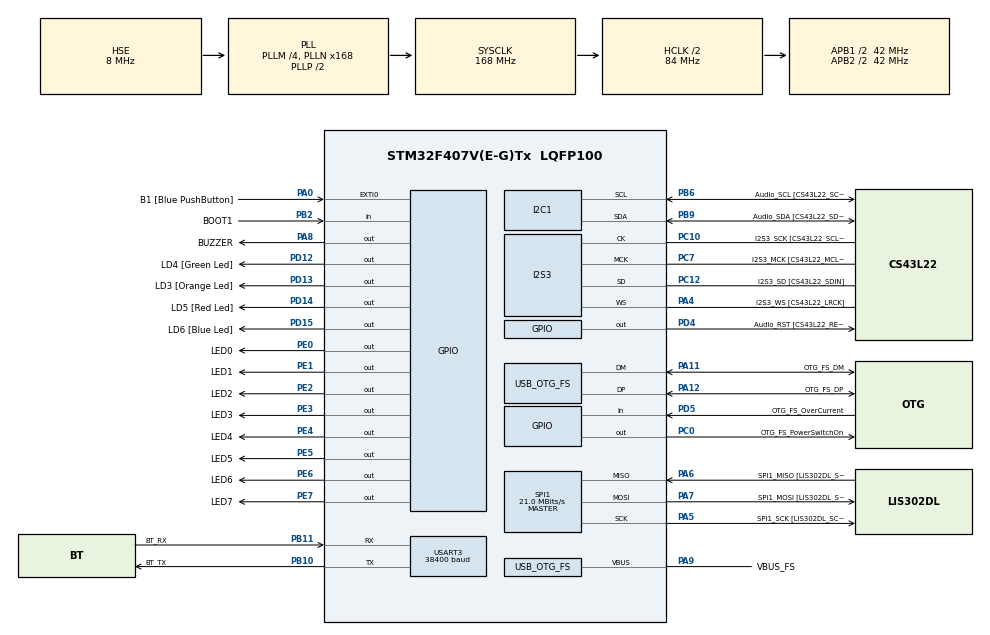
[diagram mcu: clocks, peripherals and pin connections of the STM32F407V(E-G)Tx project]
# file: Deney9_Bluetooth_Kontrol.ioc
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I2S3.AudioFreq=I2S_AUDIOFREQ_96K
I2S3.AudioFreq-Half_Duplex_Master=I2S_AUDIOFREQ_96K
I2S3.ErrorAudioFreq=- %
I2S3.ErrorAudioFreq-Half_Duplex_Master=0.8 %
I2S3.FullDuplexMode=I2S_FULLDUPLEXMODE_DISABLE
I2S3.Instance=SPI$Index
I2S3.RealAudioFreq=- Hz
I2S3.RealAudioFreq-Half_Duplex_Master=96.774 KHz
I2S3.VirtualMode=I2S_MODE_MASTER
Mcu.Family=STM32F4
Mcu.Name=STM32F407V(E-G)Tx
Mcu.Package=LQFP100
NVIC.OTG_FS_IRQn=true\:0\:0\:false\:false\:true\:true\:true\:true
NVIC.PriorityGroup=NVIC_PRIORITYGROUP_0
NVIC.USART3_IRQn=true\:0\:0\:false\:false\:true\:true\:true\:true
PA0-WKUP.GPIO_Label=B1 [Blue PushButton]
PA0-WKUP.GPIO_ModeDefaultEXTI=GPIO_MODE_EVT_RISING
PA0-WKUP.GPIO_PuPd=GPIO_NOPULL
PA0-WKUP.Signal=GPXTI0
PA10.GPIO_Label=OTG_FS_ID
PA10.GPIO_Mode=GPIO_MODE_AF_PP
PA10.GPIO_PuPd=GPIO_NOPULL
PA10.GPIO_Speed=GPIO_SPEED_FREQ_LOW
PA10.Signal=USB_OTG_FS_ID
PA11.GPIO_Label=OTG_FS_DM
PA11.GPIO_Mode=GPIO_MODE_AF_PP
PA11.GPIO_PuPd=GPIO_NOPULL
PA11.GPIO_Speed=GPIO_SPEED_FREQ_LOW
PA11.Mode=Host_Only
PA11.Signal=USB_OTG_FS_DM
PA12.GPIO_Label=OTG_FS_DP
PA12.GPIO_Mode=GPIO_MODE_AF_PP
PA12.GPIO_PuPd=GPIO_NOPULL
PA12.GPIO_Speed=GPIO_SPEED_FREQ_LOW
PA12.Mode=Host_Only
PA12.Signal=USB_OTG_FS_DP
PA13.GPIO_Label=SWDIO
PA13.Mode=Serial_Wire
PA13.Signal=SYS_JTMS-SWDIO
PA14.GPIO_Label=SWCLK
PA14.Mode=Serial_Wire
PA14.Signal=SYS_JTCK-SWCLK
PA4.GPIO_Label=I2S3_WS [CS43L22_LRCK]
PA4.GPIO_Mode=GPIO_MODE_AF_PP
PA4.GPIO_PuPd=GPIO_NOPULL
PA4.GPIO_Speed=GPIO_SPEED_FREQ_LOW
PA4.Mode=Half_Duplex_Master
PA4.Signal=I2S3_WS
PA5.GPIO_Label=SPI1_SCK [LIS302DL_SCL/SPC]
PA5.GPIO_Mode=GPIO_MODE_AF_PP
PA5.GPIO_PuPd=GPIO_NOPULL
PA5.GPIO_Speed=GPIO_SPEED_FREQ_LOW
PA5.Mode=Full_Duplex_Master
PA5.Signal=SPI1_SCK
PA6.GPIO_Label=SPI1_MISO [LIS302DL_SDO]
PA6.GPIO_Mode=GPIO_MODE_AF_PP
PA6.GPIO_PuPd=GPIO_NOPULL
PA6.GPIO_Speed=GPIO_SPEED_FREQ_LOW
PA6.Mode=Full_Duplex_Master
PA6.Signal=SPI1_MISO
PA7.GPIO_Label=SPI1_MOSI [LIS302DL_SDA/SDI/SDO]
PA7.GPIO_Mode=GPIO_MODE_AF_PP
PA7.GPIO_PuPd=GPIO_NOPULL
PA7.GPIO_Speed=GPIO_SPEED_FREQ_LOW
PA7.Mode=Full_Duplex_Master
PA7.Signal=SPI1_MOSI
PA8.GPIO_Label=BUZZER
PA8.Signal=GPIO_Output
PA9.GPIO_Label=VBUS_FS
PA9.GPIO_Mode=GPIO_MODE_INPUT
PA9.GPIO_PuPd=GPIO_NOPULL
PA9.Mode=Activate_VBUS
PA9.Signal=USB_OTG_FS_VBUS
PB10.GPIO_Label=BT_TX
PB10.Mode=Asynchronous
PB10.Signal=USART3_TX
PB11.GPIO_Label=BT_RX
PB11.Mode=Asynchronous
PB11.Signal=USART3_RX
PB2.GPIO_Label=BOOT1
PB2.GPIO_Mode=GPIO_MODE_INPUT
PB2.GPIO_PuPd=GPIO_NOPULL
PB2.Signal=GPIO_Input
PB3.GPIO_Label=SWO
PB3.Signal=SYS_JTDO-SWO
PB6.GPIO_Label=Audio_SCL [CS43L22_SCL]
PB6.GPIO_Mode=GPIO_MODE_AF_OD
PB6.GPIO_Pu=GPIO_PULLUP
PB6.GPIO_PuPd=GPIO_NOPULL
PB6.GPIO_Speed=GPIO_SPEED_FREQ_LOW
PB6.Mode=I2C
PB6.Signal=I2C1_SCL
PB9.GPIO_Label=Audio_SDA [CS43L22_SDA]
PB9.GPIO_Mode=GPIO_MODE_AF_OD
PB9.GPIO_Pu=GPIO_PULLUP
PB9.GPIO_PuPd=GPIO_NOPULL
PB9.GPIO_Speed=GPIO_SPEED_FREQ_LOW
PB9.Mode=I2C
PB9.Signal=I2C1_SDA
PC0.GPIO_Label=OTG_FS_PowerSwitchOn
PC0.GPIO_PuPd=GPIO_NOPULL
PC0.GPIO_Speed=GPIO_SPEED_FREQ_LOW
PC0.PinState=GPIO_PIN_SET
PC0.Signal=GPIO_Output
PC10.GPIO_Label=I2S3_SCK [CS43L22_SCLK]
PC10.GPIO_Mode=GPIO_MODE_AF_PP
PC10.GPIO_PuPd=GPIO_NOPULL
PC10.GPIO_Speed=GPIO_SPEED_FREQ_LOW
PC10.Mode=Half_Duplex_Master
PC10.Signal=I2S3_CK
PC12.GPIO_Label=I2S3_SD [CS43L22_SDIN]
PC12.GPIO_Mode=GPIO_MODE_AF_PP
PC12.GPIO_PuPd=GPIO_NOPULL
PC12.GPIO_Speed=GPIO_SPEED_FREQ_LOW
PC12.Mode=Half_Duplex_Master
PC12.Signal=I2S3_SD
PC14-OSC32_IN.GPIO_Label=PC14-OSC32_IN
PC14-OSC32_IN.Mode=LSE-External-Oscillator
PC14-OSC32_IN.Signal=RCC_OSC32_IN
PC15-OSC32_OUT.GPIO_Label=PC15-OSC32_OUT
PC15-OSC32_OUT.Mode=LSE-External-Oscillator
PC15-OSC32_OUT.Signal=RCC_OSC32_OUT
PC3.GPIO_Label=PDM_OUT [MP45DT02_DOUT]
PC3.GPIO_Mode=GPIO_MODE_AF_PP
PC3.GPIO_PuPd=GPIO_NOPULL
PC3.GPIO_Speed=GPIO_SPEED_FREQ_LOW
PC3.Signal=I2S2_SD
PC7.GPIO_Label=I2S3_MCK [CS43L22_MCLK]
PC7.GPIO_Mode=GPIO_MODE_AF_PP
PC7.GPIO_PuPd=GPIO_NOPULL
PC7.GPIO_Speed=GPIO_SPEED_FREQ_LOW
PC7.Mode=Master_Clock_Activated
PC7.Signal=I2S3_MCK
PD12.GPIO_Label=LD4 [Green Led]
PD12.GPIO_PuPd=GPIO_NOPULL
PD12.GPIO_Speed=GPIO_SPEED_FREQ_LOW
PD12.Signal=GPIO_Output
PD13.GPIO_Label=LD3 [Orange Led]
PD13.GPIO_PuPd=GPIO_NOPULL
PD13.GPIO_Speed=GPIO_SPEED_FREQ_LOW
PD13.Signal=GPIO_Output
PD14.GPIO_Label=LD5 [Red Led]
PD14.GPIO_PuPd=GPIO_NOPULL
PD14.GPIO_Speed=GPIO_SPEED_FREQ_LOW
PD14.Signal=GPIO_Output
PD15.GPIO_Label=LD6 [Blue Led]
PD15.GPIO_PuPd=GPIO_NOPULL
PD15.GPIO_Speed=GPIO_SPEED_FREQ_LOW
PD15.Signal=GPIO_Output
PD4.GPIO_Label=Audio_RST [CS43L22_RESET]
PD4.GPIO_PuPd=GPIO_NOPULL
PD4.GPIO_Speed=GPIO_SPEED_FREQ_LOW
PD4.Signal=GPIO_Output
PD5.GPIO_Label=OTG_FS_OverCurrent
PD5.GPIO_Mode=GPIO_MODE_INPUT
PD5.GPIO_PuPd=GPIO_NOPULL
PD5.Signal=GPIO_Input
PE0.GPIO_Label=LED0
PE0.Signal=GPIO_Output
PE1.GPIO_Label=LED1
PE1.Signal=GPIO_Output
PE2.GPIO_Label=LED2
PE2.Signal=GPIO_Output
PE3.GPIO_Label=LED3
PE3.Signal=GPIO_Output
PE4.GPIO_Label=LED4
PE4.Signal=GPIO_Output
PE5.GPIO_Label=LED5
PE5.Signal=GPIO_Output
PE6.GPIO_Label=LED6
PE6.Signal=GPIO_Output
PE7.GPIO_Label=LED7
PE7.Signal=GPIO_Output
PH0-OSC_IN.GPIO_Label=PH0-OSC_IN
PH0-OSC_IN.Mode=HSE-External-Oscillator
PH0-OSC_IN.Signal=RCC_OSC_IN
PH1-OSC_OUT.GPIO_Label=PH1-OSC_OUT
PH1-OSC_OUT.Mode=HSE-External-Oscillator
PH1-OSC_OUT.Signal=RCC_OSC_OUT
ProjectManager.HeapSize=0x200
ProjectManager.StackSize=0x400
ProjectManager.TargetToolchain=STM32CubeIDE
RCC.48MHZClocksFreq_Value=48000000
RCC.AHBCLKDivider=RCC_SYSCLK_DIV2
RCC.AHBFreq_Value=84000000
RCC.APB1CLKDivider=RCC_HCLK_DIV2
RCC.APB1Freq_Value=42000000
RCC.APB1TimFreq_Value=84000000
RCC.APB2CLKDivider=RCC_HCLK_DIV2
RCC.APB2Freq_Value=42000000
RCC.APB2TimFreq_Value=84000000
RCC.CortexFreq_Value=84000000
RCC.HCLKFreq_Value=84000000
RCC.HSE_VALUE=8000000
RCC.HSI_VALUE=16000000
RCC.PLLI2SN=50
RCC.PLLM=4
RCC.PLLN=168
RCC.PLLQ=7
RCC.SYSCLKFreq_VALUE=168000000
RCC.SYSCLKSource=RCC_SYSCLKSOURCE_PLLCLK
RCC.VCOOutputFreq_Value=336000000
SPI1.BaudRatePrescaler-Full_Duplex_Master=SPI_BAUDRATEPRESCALER_2
SPI1.CalculateBaudRate=21.0 MBits/s
SPI1.CalculateBaudRate-Full_Duplex_Master=42.0 MBits/s
SPI1.Direction=SPI_DIRECTION_2LINES
SPI1.Mode=SPI_MODE_MASTER
SPI1.Mode-Full_Duplex_Master=SPI_MODE_MASTER
SPI1.VirtualType=VM_MASTER
USART3.BaudRate=38400
USART3.VirtualMode=VM_ASYNC
USB_HOST.BSP.number=1
USB_HOST.USBH_HandleTypeDef-CDC_FS=hUsbHostFS
USB_HOST.VirtualModeFS=Cdc
USB_HOST0.BSP.STBoard=false
USB_HOST0.BSP.api=Unknown
USB_HOST0.BSP.instance=PC0
USB_HOST0.BSP.ip=GPIO
USB_HOST0.BSP.mode=Output
USB_HOST0.BSP.name=Drive_VBUS_FS
USB_HOST0.BSP.solution=PC0
USB_OTG_FS.VirtualMode=Host_Only
USB_OTG_FS.phy_itface=HCD_PHY_EMBEDDED
VP_USB_HOST_VS_USB_HOST_CDC_FS.Mode=CDC_FS
board=STM32F407G-DISC1

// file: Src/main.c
/* USER CODE BEGIN Header */
/**
  ******************************************************************************
  * @file           : main.c
  * @brief          : Main program body
  ******************************************************************************
  * @attention
  *
  * Copyright (c) 2026 STMicroelectronics.
  * All rights reserved.
  *
  * This software is licensed under terms that can be found in the LICENSE file
  * in the root directory of this software component.
  * If no LICENSE file comes with this software, it is provided AS-IS.
  *
  ******************************************************************************
  */
/* USER CODE END Header */
#include "main.h"
#include "usb_host.h"

/* USER CODE BEGIN Includes */
#include <string.h>
#include <stdio.h>
/* USER CODE END Includes */

I2C_HandleTypeDef hi2c1;

I2S_HandleTypeDef hi2s3;

SPI_HandleTypeDef hspi1;

UART_HandleTypeDef huart3;

/* USER CODE BEGIN PV */
uint8_t rx_buffer[20];      // Gelen komut karakterlerini tutar
uint8_t rx_index = 0;       // Dizinin son indeksini tutar
char rx_complete = 0;       // Komutun tamamlandığını belirten flag
/* USER CODE END PV */

void SystemClock_Config(void);
static void MX_GPIO_Init(void);
static void MX_I2C1_Init(void);
static void MX_I2S3_Init(void);
static void MX_SPI1_Init(void);
static void MX_USART3_UART_Init(void);
void MX_USB_HOST_Process(void);

int main(void)
{

  /* MCU Configuration--------------------------------------------------------*/

  /* Reset of all peripherals, Initializes the Flash interface and the Systick. */
  HAL_Init();

  /* Configure the system clock */
  SystemClock_Config();

  /* Initialize all configured peripherals */
  MX_GPIO_Init();
  MX_I2C1_Init();
  MX_I2S3_Init();
  MX_SPI1_Init();
  MX_USB_HOST_Init();
  MX_USART3_UART_Init();
  /* USER CODE BEGIN 2 */
  // Tüm LED'leri ve Buzzer'ı başlangıçta SÖNDÜR
  HAL_GPIO_WritePin(GPIOE, LED0_Pin|LED1_Pin|LED2_Pin|LED3_Pin|LED4_Pin|LED5_Pin|LED6_Pin|LED7_Pin, GPIO_PIN_RESET);
  HAL_GPIO_WritePin(GPIOA, BUZZER_Pin, GPIO_PIN_RESET);

  // Bluetooth'a hoş geldin mesajı gönder
  char welcome_msg[] = "STM32 Hazir. Komutlar: LED_AC, LED_KAPAT, BUZZER_AC, BUZZER_KAPAT\r\n";
  HAL_UART_Transmit(&huart3, (uint8_t*)welcome_msg, strlen(welcome_msg), 100);

  // Telefondan veri gelmesi için UART kesmesini başlat
  HAL_UART_Receive_IT(&huart3, &rx_buffer[rx_index], 1);
  /* USER CODE END 2 */

  /* Infinite loop */
  /* USER CODE BEGIN WHILE */
  while (1)
  {
      // Eğer UART kesmesi ile tam bir komut alındıysa
      if (rx_complete)
      {
          rx_complete = 0; // Flag'i sıfırla

          // Alınan komutu karşılaştır (strcmp)
          if (strcmp((char*)rx_buffer, "LED_AC") == 0)
          {
              // Tüm LED'leri yak (PE0-PE7)
              HAL_GPIO_WritePin(GPIOE, LED0_Pin|LED1_Pin|LED2_Pin|LED3_Pin|LED4_Pin|LED5_Pin|LED6_Pin|LED7_Pin, GPIO_PIN_SET);
              char reply[] = "LED'ler ACIK\r\n";
              HAL_UART_Transmit(&huart3, (uint8_t*)reply, strlen(reply), 100);
          }
          else if (strcmp((char*)rx_buffer, "LED_KAPAT") == 0)
          {
              // Tüm LED'leri söndür
              HAL_GPIO_WritePin(GPIOE, LED0_Pin|LED1_Pin|LED2_Pin|LED3_Pin|LED4_Pin|LED5_Pin|LED6_Pin|LED7_Pin, GPIO_PIN_RESET);
              char reply[] = "LED'ler KAPALI\r\n";
              HAL_UART_Transmit(&huart3, (uint8_t*)reply, strlen(reply), 100);
          }
          else if (strcmp((char*)rx_buffer, "BUZZER_AC") == 0)
          {
              // Buzzer'ı çalıştır (HIGH yap)
              HAL_GPIO_WritePin(GPIOA, BUZZER_Pin, GPIO_PIN_SET);
              char reply[] = "BUZZER ACIK\r\n";
              HAL_UART_Transmit(&huart3, (uint8_t*)reply, strlen(reply), 100);
          }
          else if (strcmp((char*)rx_buffer, "BUZZER_KAPAT") == 0)
          {
              // Buzzer'ı durdur (LOW yap)
              HAL_GPIO_WritePin(GPIOA, BUZZER_Pin, GPIO_PIN_RESET);
              char reply[] = "BUZZER KAPALI\r\n";
              HAL_UART_Transmit(&huart3, (uint8_t*)reply, strlen(reply), 100);
          }
          else
          {
              // Geçersiz komut durumunda uyarı gönder
              char error_msg[] = "Gecersiz komut!\r\n";
              HAL_UART_Transmit(&huart3, (uint8_t*)error_msg, strlen(error_msg), 100);
          }

          // Bir sonraki komut için buffer'ı ve indeksi temizle
          memset(rx_buffer, 0, sizeof(rx_buffer));
          rx_index = 0;

          // UART kesmesini yeniden başlat
          HAL_UART_Receive_IT(&huart3, &rx_buffer[rx_index], 1);
      }

      // Heartbeat (Kalp Atışı): Sistemin çalıştığını göstermek için LED0'ı yakıp söndür
      HAL_GPIO_TogglePin(GPIOE, LED0_Pin);
      HAL_Delay(500);
  }
    /* USER CODE END WHILE */
    MX_USB_HOST_Process();

  }
}

void SystemClock_Config(void)
{
  RCC_OscInitTypeDef RCC_OscInitStruct = {0};
  RCC_ClkInitTypeDef RCC_ClkInitStruct = {0};

  /** Configure the main internal regulator output voltage
  */
  __HAL_RCC_PWR_CLK_ENABLE();
  __HAL_PWR_VOLTAGESCALING_CONFIG(PWR_REGULATOR_VOLTAGE_SCALE1);

  /** Initializes the RCC Oscillators according to the specified parameters
  * in the RCC_OscInitTypeDef structure.
  */
  RCC_OscInitStruct.OscillatorType = RCC_OSCILLATORTYPE_HSE;
  RCC_OscInitStruct.HSEState = RCC_HSE_ON;
  RCC_OscInitStruct.PLL.PLLState = RCC_PLL_ON;
  RCC_OscInitStruct.PLL.PLLSource = RCC_PLLSOURCE_HSE;
  RCC_OscInitStruct.PLL.PLLM = 4;
  RCC_OscInitStruct.PLL.PLLN = 168;
  RCC_OscInitStruct.PLL.PLLP = RCC_PLLP_DIV2;
  RCC_OscInitStruct.PLL.PLLQ = 7;
  if (HAL_RCC_OscConfig(&RCC_OscInitStruct) != HAL_OK)
  {
    Error_Handler();
  }

  /** Initializes the CPU, AHB and APB buses clocks
  */
  RCC_ClkInitStruct.ClockType = RCC_CLOCKTYPE_HCLK|RCC_CLOCKTYPE_SYSCLK
                              |RCC_CLOCKTYPE_PCLK1|RCC_CLOCKTYPE_PCLK2;
  RCC_ClkInitStruct.SYSCLKSource = RCC_SYSCLKSOURCE_PLLCLK;
  RCC_ClkInitStruct.AHBCLKDivider = RCC_SYSCLK_DIV2;
  RCC_ClkInitStruct.APB1CLKDivider = RCC_HCLK_DIV2;
  RCC_ClkInitStruct.APB2CLKDivider = RCC_HCLK_DIV2;

  if (HAL_RCC_ClockConfig(&RCC_ClkInitStruct, FLASH_LATENCY_2) != HAL_OK)
  {
    Error_Handler();
  }
}

static void MX_I2C1_Init(void)
{

  hi2c1.Instance = I2C1;
  hi2c1.Init.ClockSpeed = 100000;
  hi2c1.Init.DutyCycle = I2C_DUTYCYCLE_2;
  hi2c1.Init.OwnAddress1 = 0;
  hi2c1.Init.AddressingMode = I2C_ADDRESSINGMODE_7BIT;
  hi2c1.Init.DualAddressMode = I2C_DUALADDRESS_DISABLE;
  hi2c1.Init.OwnAddress2 = 0;
  hi2c1.Init.GeneralCallMode = I2C_GENERALCALL_DISABLE;
  hi2c1.Init.NoStretchMode = I2C_NOSTRETCH_DISABLE;
  if (HAL_I2C_Init(&hi2c1) != HAL_OK)
  {
    Error_Handler();
  }

}

static void MX_I2S3_Init(void)
{

  hi2s3.Instance = SPI3;
  hi2s3.Init.Mode = I2S_MODE_MASTER_TX;
  hi2s3.Init.Standard = I2S_STANDARD_PHILIPS;
  hi2s3.Init.DataFormat = I2S_DATAFORMAT_16B;
  hi2s3.Init.MCLKOutput = I2S_MCLKOUTPUT_ENABLE;
  hi2s3.Init.AudioFreq = I2S_AUDIOFREQ_96K;
  hi2s3.Init.CPOL = I2S_CPOL_LOW;
  hi2s3.Init.ClockSource = I2S_CLOCK_PLL;
  hi2s3.Init.FullDuplexMode = I2S_FULLDUPLEXMODE_DISABLE;
  if (HAL_I2S_Init(&hi2s3) != HAL_OK)
  {
    Error_Handler();
  }

}

static void MX_SPI1_Init(void)
{

  /* SPI1 parameter configuration*/
  hspi1.Instance = SPI1;
  hspi1.Init.Mode = SPI_MODE_MASTER;
  hspi1.Init.Direction = SPI_DIRECTION_2LINES;
  hspi1.Init.DataSize = SPI_DATASIZE_8BIT;
  hspi1.Init.CLKPolarity = SPI_POLARITY_LOW;
  hspi1.Init.CLKPhase = SPI_PHASE_1EDGE;
  hspi1.Init.NSS = SPI_NSS_SOFT;
  hspi1.Init.BaudRatePrescaler = SPI_BAUDRATEPRESCALER_2;
  hspi1.Init.FirstBit = SPI_FIRSTBIT_MSB;
  hspi1.Init.TIMode = SPI_TIMODE_DISABLE;
  hspi1.Init.CRCCalculation = SPI_CRCCALCULATION_DISABLE;
  hspi1.Init.CRCPolynomial = 10;
  if (HAL_SPI_Init(&hspi1) != HAL_OK)
  {
    Error_Handler();
  }

}

static void MX_USART3_UART_Init(void)
{

  huart3.Instance = USART3;
  huart3.Init.BaudRate = 38400;
  huart3.Init.WordLength = UART_WORDLENGTH_8B;
  huart3.Init.StopBits = UART_STOPBITS_1;
  huart3.Init.Parity = UART_PARITY_NONE;
  huart3.Init.Mode = UART_MODE_TX_RX;
  huart3.Init.HwFlowCtl = UART_HWCONTROL_NONE;
  huart3.Init.OverSampling = UART_OVERSAMPLING_16;
  if (HAL_UART_Init(&huart3) != HAL_OK)
  {
    Error_Handler();
  }

}

static void MX_GPIO_Init(void)
{
  GPIO_InitTypeDef GPIO_InitStruct = {0};

  /* GPIO Ports Clock Enable */
  __HAL_RCC_GPIOE_CLK_ENABLE();
  __HAL_RCC_GPIOC_CLK_ENABLE();
  __HAL_RCC_GPIOH_CLK_ENABLE();
  __HAL_RCC_GPIOA_CLK_ENABLE();
  __HAL_RCC_GPIOB_CLK_ENABLE();
  __HAL_RCC_GPIOD_CLK_ENABLE();

  /*Configure GPIO pin Output Level */
  HAL_GPIO_WritePin(GPIOE, LED2_Pin|LED3_Pin|LED4_Pin|LED5_Pin
                          |LED6_Pin|LED7_Pin|LED0_Pin|LED1_Pin, GPIO_PIN_RESET);

  /*Configure GPIO pin Output Level */
  HAL_GPIO_WritePin(OTG_FS_PowerSwitchOn_GPIO_Port, OTG_FS_PowerSwitchOn_Pin, GPIO_PIN_SET);

  /*Configure GPIO pin Output Level */
  HAL_GPIO_WritePin(GPIOD, LD4_Pin|LD3_Pin|LD5_Pin|LD6_Pin
                          |Audio_RST_Pin, GPIO_PIN_RESET);

  /*Configure GPIO pin Output Level */
  HAL_GPIO_WritePin(BUZZER_GPIO_Port, BUZZER_Pin, GPIO_PIN_RESET);

  /*Configure GPIO pins : LED2_Pin LED3_Pin LED4_Pin LED5_Pin
                           LED6_Pin LED7_Pin LED0_Pin LED1_Pin */
  GPIO_InitStruct.Pin = LED2_Pin|LED3_Pin|LED4_Pin|LED5_Pin
                          |LED6_Pin|LED7_Pin|LED0_Pin|LED1_Pin;
  GPIO_InitStruct.Mode = GPIO_MODE_OUTPUT_PP;
  GPIO_InitStruct.Pull = GPIO_NOPULL;
  GPIO_InitStruct.Speed = GPIO_SPEED_FREQ_LOW;
  HAL_GPIO_Init(GPIOE, &GPIO_InitStruct);

  /*Configure GPIO pin : OTG_FS_PowerSwitchOn_Pin */
  GPIO_InitStruct.Pin = OTG_FS_PowerSwitchOn_Pin;
  GPIO_InitStruct.Mode = GPIO_MODE_OUTPUT_PP;
  GPIO_InitStruct.Pull = GPIO_NOPULL;
  GPIO_InitStruct.Speed = GPIO_SPEED_FREQ_LOW;
  HAL_GPIO_Init(OTG_FS_PowerSwitchOn_GPIO_Port, &GPIO_InitStruct);

  /*Configure GPIO pin : PDM_OUT_Pin */
  GPIO_InitStruct.Pin = PDM_OUT_Pin;
  GPIO_InitStruct.Mode = GPIO_MODE_AF_PP;
  GPIO_InitStruct.Pull = GPIO_NOPULL;
  GPIO_InitStruct.Speed = GPIO_SPEED_FREQ_LOW;
  GPIO_InitStruct.Alternate = GPIO_AF5_SPI2;
  HAL_GPIO_Init(PDM_OUT_GPIO_Port, &GPIO_InitStruct);

  /*Configure GPIO pin : B1_Pin */
  GPIO_InitStruct.Pin = B1_Pin;
  GPIO_InitStruct.Mode = GPIO_MODE_EVT_RISING;
  GPIO_InitStruct.Pull = GPIO_NOPULL;
  HAL_GPIO_Init(B1_GPIO_Port, &GPIO_InitStruct);

  /*Configure GPIO pin : BOOT1_Pin */
  GPIO_InitStruct.Pin = BOOT1_Pin;
  GPIO_InitStruct.Mode = GPIO_MODE_INPUT;
  GPIO_InitStruct.Pull = GPIO_NOPULL;
  HAL_GPIO_Init(BOOT1_GPIO_Port, &GPIO_InitStruct);

  /*Configure GPIO pins : LD4_Pin LD3_Pin LD5_Pin LD6_Pin
                           Audio_RST_Pin */
  GPIO_InitStruct.Pin = LD4_Pin|LD3_Pin|LD5_Pin|LD6_Pin
                          |Audio_RST_Pin;
  GPIO_InitStruct.Mode = GPIO_MODE_OUTPUT_PP;
  GPIO_InitStruct.Pull = GPIO_NOPULL;
  GPIO_InitStruct.Speed = GPIO_SPEED_FREQ_LOW;
  HAL_GPIO_Init(GPIOD, &GPIO_InitStruct);

  /*Configure GPIO pin : BUZZER_Pin */
  GPIO_InitStruct.Pin = BUZZER_Pin;
  GPIO_InitStruct.Mode = GPIO_MODE_OUTPUT_PP;
  GPIO_InitStruct.Pull = GPIO_NOPULL;
  GPIO_InitStruct.Speed = GPIO_SPEED_FREQ_LOW;
  HAL_GPIO_Init(BUZZER_GPIO_Port, &GPIO_InitStruct);

  /*Configure GPIO pin : OTG_FS_OverCurrent_Pin */
  GPIO_InitStruct.Pin = OTG_FS_OverCurrent_Pin;
  GPIO_InitStruct.Mode = GPIO_MODE_INPUT;
  GPIO_InitStruct.Pull = GPIO_NOPULL;
  HAL_GPIO_Init(OTG_FS_OverCurrent_GPIO_Port, &GPIO_InitStruct);

}

/* USER CODE BEGIN 4 */
void HAL_UART_RxCpltCallback(UART_HandleTypeDef *huart)
{
    if (huart->Instance == USART3)
    {
        // Gelen karakter satır sonu karakteri mi?
        if (rx_buffer[rx_index] == '\r' || rx_buffer[rx_index] == '\n')
        {
            rx_buffer[rx_index] = '\0'; // String'i sonlandır
            rx_complete = 1;            // Ana döngüye komutun hazır olduğunu söyle
        }
        else
        {
            // Karakteri bir sonraki pozisyon için bekle
            rx_index++;
            // Taşmaya karşı güvenlik
            if (rx_index >= sizeof(rx_buffer)) {
                rx_index = 0; // Başa dön
                memset(rx_buffer, 0, sizeof(rx_buffer));
            }
        }

        // Bir sonraki karakteri dinlemeye devam et
        if (!rx_complete) {
            HAL_UART_Receive_IT(&huart3, &rx_buffer[rx_index], 1);
        }
    }
}
/* USER CODE END 4 */

void Error_Handler(void)
{
  __disable_irq();
  while (1)
  {
  }
}
